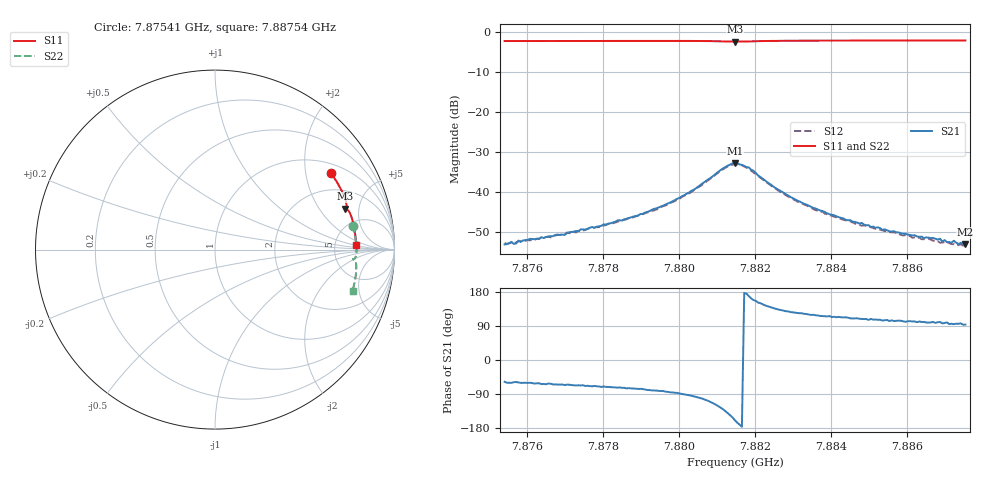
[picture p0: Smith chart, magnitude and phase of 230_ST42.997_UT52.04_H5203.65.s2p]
#  HZ  S  DB  R  50.00
! Rohde & Schwarz Vector Network Analyzer
! Rohde-Schwarz,ZNB20-2Port,1311601062101988,3.16
! Created: UTC 1/12/2023, 6:46:32 PM
! freq[Hz]  db:S11  ang:S11  db:S21  ang:S21  db:S12  ang:S12  db:S22  ang:S22
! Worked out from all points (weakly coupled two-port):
!   201 points, 7.87541 GHz to 7.88754 GHz, reference 50 ohm
!   highest |S21| = -32.64 dB at 7.88148 GHz (marker M1); lowest = -53.0 dB at 7.88754 GHz (marker M2)
!   lowest |S11| = -2.4 dB at 7.88148 GHz (marker M3), VSWR 7.36, Z = 166 + j179 ohm
!   |S11| at or under -10 dB: nowhere
!   |S22| runs from -2.3 to -1.9 dB; largest |S21 - S12| = 0.0018
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7.875412e9  -2.23 33.4  -53.01 -57.4  -52.67 -60.8  -2.16 9.8
7.875594e9  -2.22 32.9  -52.37 -60.4  -52.66 -61.8  -2.15 9.3
7.875715e9  -2.22 32.6  -52.77 -58.1  -52.52 -62.8  -2.15 9.0
7.875776e9  -2.22 32.4  -52.06 -59.2  -52.24 -63.6  -2.15 8.8
7.876989e9  -2.20 29.1  -50.65 -66.2  -50.50 -67.5  -2.11 6.0
7.877474e9  -2.19 27.8  -49.25 -66.4  -49.59 -69.8  -2.10 4.9
7.878505e9  -2.18 25.0  -47.05 -73.4  -47.00 -76.0  -2.08 2.5
7.879476e9  -2.17 22.3  -43.76 -81.7  -43.91 -85.4  -2.06 0.2
7.880386e9  -2.20 19.7  -39.42 -95.8  -39.56 -99.0  -2.08 -2.1
7.881174e9  -2.32 17.6  -33.97 -130.9  -34.15 -134.3  -2.20 -3.9
7.881477e9  -2.38 17.4  -32.64 -159.4  -33.00 -161.4  -2.26 -4.0
7.881841e9  -2.31 17.2  -33.79 168.7  -34.16 165.1  -2.20 -3.9
7.882569e9  -2.18 15.3  -39.09 134.5  -39.24 131.3  -2.06 -5.5
7.883539e9  -2.13 12.5  -43.91 119.3  -44.19 115.7  -2.00 -7.8
7.884692e9  -2.11 9.4  -47.54 110.1  -48.01 104.8  -1.97 -10.5
7.885541e9  -2.10 7.2  -49.71 102.9  -49.93 101.6  -1.96 -12.3
7.886451e9  -2.09 4.8  -51.44 100.4  -51.71 97.5  -1.95 -14.4
7.886875e9  -2.09 3.7  -51.60 100.2  -52.61 94.5  -1.95 -15.2
7.887057e9  -2.08 3.2  -52.46 99.2  -52.42 95.3  -1.94 -15.6
7.887239e9  -2.08 2.7  -52.10 94.5  -52.94 91.9  -1.94 -16.0
7.887361e9  -2.08 2.4  -52.91 95.6  -53.17 92.7  -1.94 -16.3
7.887543e9  -2.08 1.9  -53.01 93.3  -53.45 93.9  -1.94 -16.7
